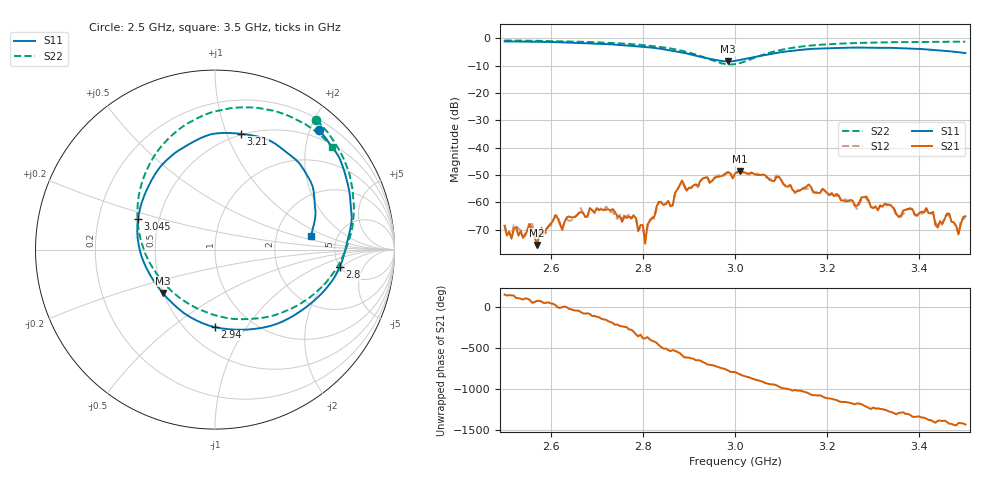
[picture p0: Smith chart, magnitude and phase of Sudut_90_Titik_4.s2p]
# Hz S RI R 50
! CMT, C1220, 16058040, 17.2.0/1
! Date: 15/08/2018 10:32:17
! Data: Format (Calibration Info)
! Freq  S11: Re/Im (F2)  S21: Re/Im (F2)  S12: Re/Im (F2)  S22: Re/Im (F2)
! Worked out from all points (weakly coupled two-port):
!   201 points, 2.5 GHz to 3.5 GHz, reference 50 ohm
!   highest |S21| = -48.65 dB at 3.01 GHz (marker M1); lowest = -75.7 dB at 2.57 GHz (marker M2)
!   lowest |S11| = -8.4 dB at 2.985 GHz (marker M3), VSWR 2.22, Z = 24.8 - j14 ohm
!   |S11| at or under -10 dB: nowhere
!   |S22| runs from -9.5 to -0.8 dB; largest |S21 - S12| = 0.00031
!   S11 on the Smith chart (normalised r, x): 2.5 GHz: 0.36, +2.15; 2.8 GHz: 4.93, -1.90; 2.94 GHz: 0.69, -0.73; 3.045 GHz: 0.38, +0.16; 3.21 GHz: 0.49, +1.13; 3.5 GHz: 3.17, +0.69
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2.5e9  0.5798 0.6649  -0.000316 0.000186  -0.000335 0.0002  0.5648 0.7221
2.54e9  0.6289 0.604  5.89e-06 0.000223  1.45e-05 0.000234  0.6104 0.6741
2.555e9  0.6437 0.5811  5.17e-05 0.000395  0.000115 0.000421  0.6267 0.6552
2.57e9  0.6637 0.556  5.08e-05 0.000157  8.03e-05 0.000135  0.6422 0.6329
2.61e9  0.7029 0.4862  0.000543 0.000213  0.000516 0.000173  0.6835 0.5695
2.625e9  0.7171 0.4475  0.000313 -2.52e-05  0.000322 -8.05e-05  0.6981 0.5431
2.67e9  0.7455 0.3396  0.000108 -0.000633  0.000109 -0.000645  0.7384 0.452
2.8e9  0.6944 -0.098  0.00034 -0.000168  0.000304 -0.00017  0.752 0.0713
2.805e9  0.6853 -0.1179  0.000157 -7.77e-05  0.000162 -0.000124  0.746 0.0528
2.835e9  0.6121 -0.225  -0.000353 -0.000956  -0.000314 -0.000953  0.6995 -0.0635
2.94e9  0.000878 -0.4319  0.00277 0.000794  0.00278 0.000904  0.1823 -0.3868
2.985e9  -0.2907 -0.2421  0.00185 -0.00306  0.00196 -0.00301  -0.1686 -0.2884
3e9  -0.3595 -0.1449  0.000725 -0.00325  0.0005 -0.00327  -0.2691 -0.2046
3.01e9  -0.3948 -0.0754  -0.000849 -0.0036  -0.000805 -0.00344  -0.3244 -0.1362
3.045e9  -0.4298 0.1683  -0.00315 -0.000446  -0.00335 -0.000617  -0.429 0.135
3.17e9  -0.00655 0.6455  0.00152 9.13e-06  0.00155 0.00018  -0.076 0.7429
3.21e9  0.1457 0.6447  0.00106 -0.00103  0.000885 -0.00111  0.0694 0.7846
3.335e9  0.4687 0.4825  -0.000849 0.000302  -0.000854 0.000297  0.4026 0.7481
3.44e9  0.558 0.2291  0.000233 0.000254  0.000224 0.000292  0.5792 0.6428
3.465e9  0.557 0.1695  0.000603 0.000126  0.000563 0.000109  0.6112 0.616
3.485e9  0.5458 0.1174  0.000241 9.4e-05  0.00026 5.3e-05  0.6348 0.5913
3.5e9  0.5336 0.0772  0.000556 1.92e-05  0.000523 2.31e-05  0.6518 0.5741
